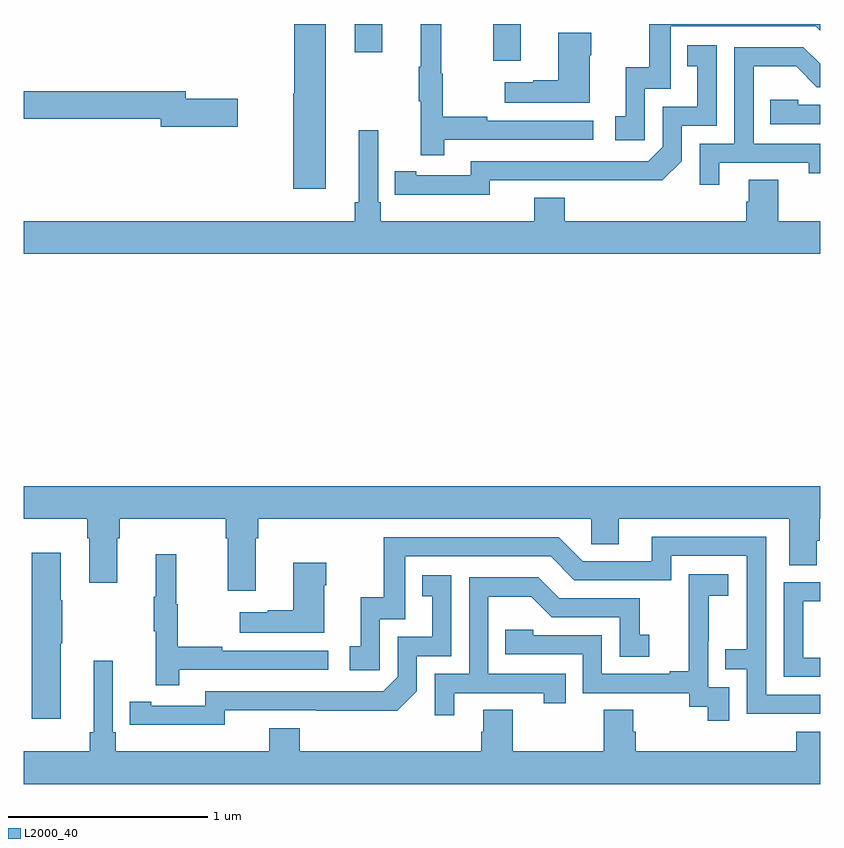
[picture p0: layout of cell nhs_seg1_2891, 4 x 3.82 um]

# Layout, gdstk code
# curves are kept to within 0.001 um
import gdstk
lib = gdstk.Library(unit=1e-6, precision=1e-09)
def R(c, l, rs):  # rectangles x0, y0, x1, y1
    for r in rs: c.add(gdstk.rectangle(r[:2], r[2:], *l))
def P(c, l, *ps):  # polygons
    for p in ps: c.add(gdstk.Polygon(p, *l))
L2000_40 = (2000, 40)

nhs_seg1_2891 = lib.new_cell('nhs_seg1_2891')
R(nhs_seg1_2891, L2000_40, [(269.357,574.014,269.497,574.199), (268.661,574.056,268.801,574.199)])
P(nhs_seg1_2891, L2000_40, [(268.516,574.199),(268.358,574.199),(268.358,573.849),(268.352,573.849),(268.352,573.372),(268.516,573.372)],
  [(270.12,573.873),(270.249,573.873),(270.249,574.188),(270.978,574.188),(271,574.166),(271,574.199),(270.141,574.199),(270.141,573.982),(270.023,573.982),(270.023,573.735),(269.97,573.735),(269.97,573.615),(270.12,573.615)],
  [(269.111,573.618),(269.86,573.618),(269.86,573.714),(269.327,573.714),(269.327,573.734),(269.104,573.734),(269.104,573.948),(269.096,573.948),(269.096,574.198),(268.994,574.198),(268.994,573.985),(268.983,573.985),(268.983,573.811),(268.994,573.811),(268.994,573.54),(269.111,573.54)],
  [(269.842,574.043),(269.85,574.043),(269.85,574.156),(269.684,574.156),(269.684,573.917),(269.558,573.917),(269.558,573.907),(269.415,573.907),(269.415,573.803),(269.842,573.803)],
  [(269.34,573.414),(270.208,573.413),(270.306,573.51),(270.306,573.687),(270.48,573.687),(270.48,574.093),(270.334,574.093),(270.334,573.987),(270.383,573.987),(270.383,573.783),(270.21,573.783),(270.21,573.582),(270.138,573.51),(269.244,573.51),(269.244,573.438),(268.972,573.438),(268.972,573.458),(268.864,573.458),(268.864,573.342),(269.34,573.341)],
  [(270.493,573.501),(270.944,573.501),(270.944,573.45),(271,573.45),(271,573.597),(270.666,573.597),(270.666,573.986),(270.88,573.986),(270.984,573.882),(271,573.882),(271,573.999),(270.916,574.083),(270.57,574.083),(270.57,573.597),(270.396,573.597),(270.396,573.39),(270.493,573.39)],
  [(268.075,573.824),(267.814,573.824),(267.814,573.86),(267,573.86),(267,573.724),(267.686,573.724),(267.686,573.682),(268.075,573.682)],
  [(271,573.792),(270.891,573.792),(270.891,573.819),(270.751,573.819),(270.751,573.696),(271,573.696)],
  [(271,573.208),(270.789,573.208),(270.789,573.416),(270.641,573.416),(270.641,573.306),(270.629,573.306),(270.629,573.208),(269.717,573.208),(269.717,573.325),(269.564,573.325),(269.564,573.208),(268.793,573.208),(268.793,573.304),(268.779,573.304),(268.779,573.664),(268.682,573.664),(268.682,573.304),(268.663,573.304),(268.663,573.208),(267,573.208),(267,573.044),(271,573.044)],
  [(268.165,571.616),(268.178,571.616),(268.178,571.712),(269.85,571.712),(269.85,571.585),(269.989,571.585),(269.989,571.712),(270.845,571.712),(270.845,571.48),(270.984,571.48),(270.984,571.603),(270.998,571.603),(270.998,571.712),(271,571.712),(271,571.876),(267,571.876),(267,571.712),(267.317,571.712),(267.317,571.616),(267.329,571.616),(267.329,571.392),(267.469,571.392),(267.469,571.616),(267.482,571.616),(267.482,571.712),(268.013,571.712),(268.013,571.616),(268.025,571.616),(268.025,571.35),(268.165,571.35)],
  [(271,570.828),(270.729,570.828),(270.729,571.623),(270.155,571.623),(270.155,571.5),(269.808,571.5),(269.688,571.62),(268.809,571.62),(268.809,571.318),(268.691,571.318),(268.691,571.071),(268.638,571.071),(268.638,570.951),(268.788,570.951),(268.788,571.209),(268.917,571.209),(268.917,571.524),(269.646,571.524),(269.766,571.404),(270.252,571.404),(270.252,571.527),(270.633,571.527),(270.633,571.058),(270.523,571.058),(270.523,570.957),(270.633,570.957),(270.633,570.732),(271,570.732)],
  [(267.184,571.087),(267.192,571.087),(267.192,571.304),(267.184,571.304),(267.184,571.543),(267.038,571.543),(267.038,570.708),(267.184,570.708)],
  [(267.779,570.954),(268.528,570.954),(268.528,571.05),(267.995,571.05),(267.995,571.07),(267.772,571.07),(267.772,571.284),(267.764,571.284),(267.764,571.534),(267.662,571.534),(267.662,571.321),(267.651,571.321),(267.651,571.147),(267.662,571.147),(267.662,570.876),(267.779,570.876)],
  [(268.51,571.379),(268.518,571.379),(268.518,571.492),(268.352,571.492),(268.352,571.253),(268.226,571.253),(268.226,571.243),(268.083,571.243),(268.083,571.139),(268.51,571.139)],
  [(270.543,570.867),(270.438,570.867),(270.438,571.097),(270.44,571.097),(270.44,571.325),(270.538,571.325),(270.538,571.435),(270.34,571.435),(270.34,571.229),(270.341,571.229),(270.341,570.946),(270.245,570.946),(270.245,570.933),(269.904,570.933),(269.904,571.128),(269.559,571.128),(269.559,571.155),(269.419,571.155),(269.419,571.032),(269.808,571.032),(269.808,570.837),(270.342,570.837),(270.342,570.769),(270.435,570.769),(270.435,570.699),(270.543,570.699)],
  [(268.008,570.75),(268.876,570.749),(268.974,570.846),(268.974,571.023),(269.148,571.023),(269.148,571.429),(269.002,571.429),(269.002,571.323),(269.051,571.323),(269.051,571.119),(268.878,571.119),(268.878,570.918),(268.806,570.846),(267.912,570.846),(267.912,570.774),(267.64,570.774),(267.64,570.794),(267.532,570.794),(267.532,570.678),(268.008,570.677)],
  [(269.161,570.837),(269.612,570.837),(269.612,570.786),(269.723,570.786),(269.723,570.933),(269.334,570.933),(269.334,571.322),(269.548,571.322),(269.652,571.218),(269.994,571.218),(269.994,571.02),(270.142,571.02),(270.142,571.129),(270.093,571.129),(270.093,571.314),(269.689,571.314),(269.584,571.419),(269.238,571.419),(269.238,570.933),(269.064,570.933),(269.064,570.726),(269.161,570.726)],
  [(271,571.014),(270.915,571.014),(270.915,571.299),(271,571.299),(271,571.395),(270.819,571.395),(270.819,570.918),(271,570.918)],
  [(271,570.643),(270.881,570.643),(270.881,570.544),(270.074,570.544),(270.074,570.642),(270.061,570.642),(270.061,570.752),(269.914,570.752),(269.914,570.544),(269.457,570.544),(269.457,570.752),(269.309,570.752),(269.309,570.642),(269.297,570.642),(269.297,570.544),(268.385,570.544),(268.385,570.661),(268.232,570.661),(268.232,570.544),(267.461,570.544),(267.461,570.64),(267.447,570.64),(267.447,571),(267.35,571),(267.35,570.64),(267.331,570.64),(267.331,570.544),(267,570.544),(267,570.38),(271,570.38)])

lib.write_gds('nhs_seg1_2891.gds')
